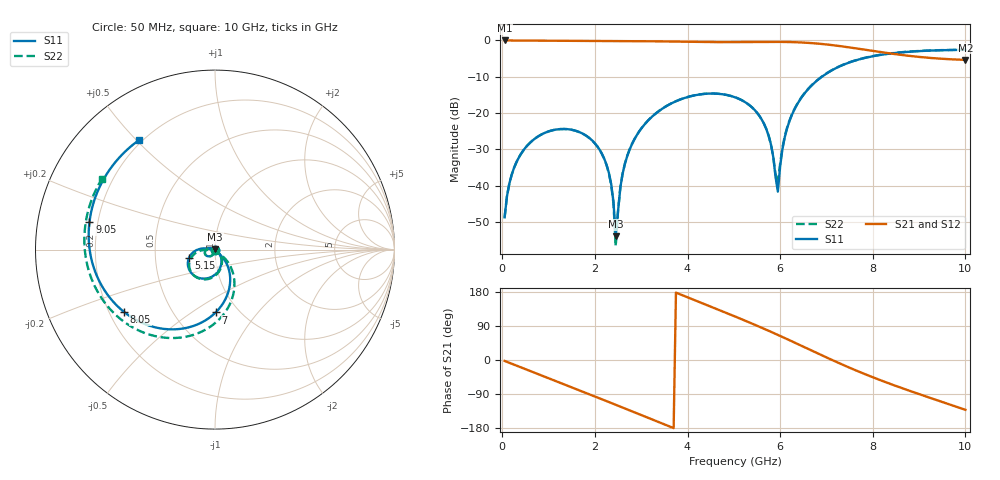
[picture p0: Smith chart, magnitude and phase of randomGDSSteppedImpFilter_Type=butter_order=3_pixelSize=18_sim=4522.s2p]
! freq	dB(S11)	phase(S11)	dB(S12)	phase(S12)
!  dB(S21)	phase(S21)	dB(S22)	phase(S22)
!S-par simulation data
#  GHz  S  DB  R 50
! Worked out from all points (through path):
!   200 points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, 50 MHz to 10 GHz, reference 50 ohm
!   highest |S21| = 0.00 dB at 50 MHz (marker M1); lowest = -5.3 dB at 10 GHz (marker M2)
!   group delay of S21, straight-line fit = 140 ps
!   lowest |S11| = -53.9 dB at 2.45 GHz (marker M3), VSWR 1.00, Z = 50 + j0.201 ohm
!   |S11| at or under -10 dB: start of sweep to 6.899 GHz
!   |S22| runs from -56.6 to -2.6 dB; largest |S21 - S12| = 0
!   S11 on the Smith chart (normalised r, x): 50 MHz: 1.00, -0.01; 5.15 GHz: 0.74, -0.07; 7 GHz: 0.79, -0.63; 8.05 GHz: 0.26, -0.29; 9.05 GHz: 0.17, +0.10; 10 GHz: 0.19, +0.51
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0.05  -48.69 -88.3  -0.00 -2.5  -0.00 -2.5  -48.69 -88.3
0.2  -37.09 -98.7  -0.02 -9.7  -0.02 -9.7  -37.09 -98.5
0.55  -28.79 -117.2  -0.04 -26.5  -0.04 -26.5  -28.79 -116.7
1.75  -25.75 -176.9  -0.11 -84.2  -0.11 -84.2  -25.77 -175.1
2.25  -34.17 155.3  -0.13 -108.4  -0.13 -108.4  -34.27 158.6
2.4  -44.35 136.3  -0.13 -115.7  -0.13 -115.7  -44.84 142.8
2.45  -53.92 87.1  -0.14 -118.2  -0.14 -118.2  -56.63 91.2
2.55  -40.41 -24.1  -0.14 -123.1  -0.14 -123.1  -40.29 -25.4
2.7  -31.75 -38.1  -0.16 -130.4  -0.16 -130.4  -31.67 -37.1
3.4  -19.27 -75.7  -0.26 -164.9  -0.26 -164.9  -19.24 -72.9
4.2  -15.00 -115.4  -0.42 155.7  -0.42 155.7  -14.98 -111.5
5.05  -15.76 -157.1  -0.46 113.6  -0.46 113.6  -15.75 -151.6
5.15  -16.32 -162.0  -0.45 108.6  -0.45 108.6  -16.31 -156.2
5.7  -24.36 173.6  -0.39 79.9  -0.39 79.9  -24.35 -178.1
5.95  -41.62 -98.1  -0.39 66.3  -0.39 66.3  -39.31 -93.1
6.15  -24.16 -46.1  -0.43 55.2  -0.43 55.2  -24.00 -41.3
6.7  -12.14 -72.5  -0.75 23.8  -0.75 23.8  -12.08 -64.7
7  -9.11 -89.4  -1.10 6.8  -1.10 6.8  -9.06 -80.6
8.05  -4.23 -145.5  -2.98 -47.9  -2.98 -47.9  -4.18 -132.9
8.35  -3.65 -160.1  -3.54 -61.8  -3.54 -61.8  -3.60 -146.1
9.05  -2.90 167.7  -4.59 -92.1  -4.59 -92.1  -2.86 -174.9
10  -2.59 125.0  -5.35 -131.4  -5.35 -131.4  -2.58 148.0
